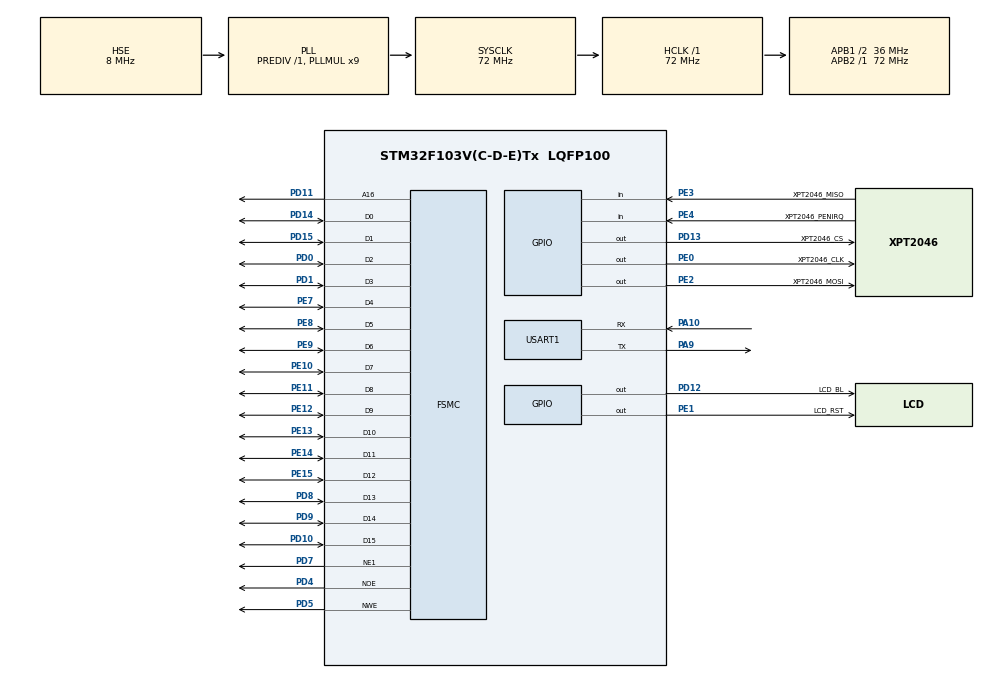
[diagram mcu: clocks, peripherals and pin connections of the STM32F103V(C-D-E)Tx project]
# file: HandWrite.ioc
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FSMC.AddressSetupTime1=0
FSMC.BusTurnAroundDuration1=0
FSMC.DataSetupTime1=8
Mcu.Family=STM32F1
Mcu.Name=STM32F103V(C-D-E)Tx
Mcu.Package=LQFP100
NVIC.PriorityGroup=NVIC_PRIORITYGROUP_4
NVIC.USART1_IRQn=true\:0\:0\:false\:false\:true\:true\:true\:true
OSC_IN.Mode=HSE-External-Oscillator
OSC_IN.Signal=RCC_OSC_IN
OSC_OUT.Mode=HSE-External-Oscillator
OSC_OUT.Signal=RCC_OSC_OUT
PA10.Mode=Asynchronous
PA10.Signal=USART1_RX
PA13.Mode=Serial_Wire
PA13.Signal=SYS_JTMS-SWDIO
PA14.Mode=Serial_Wire
PA14.Signal=SYS_JTCK-SWCLK
PA9.Mode=Asynchronous
PA9.Signal=USART1_TX
PD0.Mode=16b-d1
PD0.Signal=FSMC_D2
PD1.Mode=16b-d1
PD1.Signal=FSMC_D3
PD10.Mode=16b-d1
PD10.Signal=FSMC_D15
PD11.Mode=A16_1
PD11.Signal=FSMC_A16
PD12.GPIO_Label=LCD_BL
PD12.Signal=GPIO_Output
PD13.GPIO_Label=XPT2046_CS
PD13.Signal=GPIO_Output
PD14.Mode=16b-d1
PD14.Signal=FSMC_D0
PD15.Mode=16b-d1
PD15.Signal=FSMC_D1
PD4.Mode=Lcd1
PD4.Signal=FSMC_NOE
PD5.Mode=Lcd1
PD5.Signal=FSMC_NWE
PD7.Mode=NorPsramChipSelect1_1
PD7.Signal=FSMC_NE1
PD8.Mode=16b-d1
PD8.Signal=FSMC_D13
PD9.Mode=16b-d1
PD9.Signal=FSMC_D14
PE0.GPIO_Label=XPT2046_CLK
PE0.Signal=GPIO_Output
PE1.GPIO_Label=LCD_RST
PE1.Signal=GPIO_Output
PE10.Mode=16b-d1
PE10.Signal=FSMC_D7
PE11.Mode=16b-d1
PE11.Signal=FSMC_D8
PE12.Mode=16b-d1
PE12.Signal=FSMC_D9
PE13.Mode=16b-d1
PE13.Signal=FSMC_D10
PE14.Mode=16b-d1
PE14.Signal=FSMC_D11
PE15.Mode=16b-d1
PE15.Signal=FSMC_D12
PE2.GPIO_Label=XPT2046_MOSI
PE2.Signal=GPIO_Output
PE3.GPIO_Label=XPT2046_MISO
PE3.GPIO_PuPd=GPIO_PULLUP
PE3.Signal=GPIO_Input
PE4.GPIO_Label=XPT2046_PENIRQ
PE4.GPIO_PuPd=GPIO_PULLUP
PE4.Signal=GPIO_Input
PE7.Mode=16b-d1
PE7.Signal=FSMC_D4
PE8.Mode=16b-d1
PE8.Signal=FSMC_D5
PE9.Mode=16b-d1
PE9.Signal=FSMC_D6
ProjectManager.HeapSize=0x200
ProjectManager.StackSize=0x400
ProjectManager.TargetToolchain=CMake
RCC.AHBFreq_Value=72000000
RCC.APB1CLKDivider=RCC_HCLK_DIV2
RCC.APB1Freq_Value=36000000
RCC.APB1TimFreq_Value=72000000
RCC.APB2Freq_Value=72000000
RCC.APB2TimFreq_Value=72000000
RCC.HCLKFreq_Value=72000000
RCC.PLLMUL=RCC_PLL_MUL9
RCC.PLLSourceVirtual=RCC_PLLSOURCE_HSE
RCC.SYSCLKFreq_VALUE=72000000
RCC.SYSCLKSource=RCC_SYSCLKSOURCE_PLLCLK
RCC.USBFreq_Value=72000000
USART1.VirtualMode=VM_ASYNC
board=custom

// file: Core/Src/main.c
/* USER CODE BEGIN Header */
/**
  ******************************************************************************
  * @file           : main.c
  * @brief          : Main program body
  ******************************************************************************
  * @attention
  *
  * Copyright (c) 2026 STMicroelectronics.
  * All rights reserved.
  *
  * This software is licensed under terms that can be found in the LICENSE file
  * in the root directory of this software component.
  * If no LICENSE file comes with this software, it is provided AS-IS.
  *
  ******************************************************************************
  */
/* USER CODE END Header */
#include "main.h"
#include "usart.h"
#include "gpio.h"
#include "fsmc.h"

/* USER CODE BEGIN Includes */
#include "bsp_ili9341_lcd.h"
#include "bsp_xpt2046_lcd.h"
#include "digit_recognizer.h"
#include "handwriting_canvas.h"
#include "serial_protocol.h"
/* USER CODE END Includes */

/* USER CODE BEGIN PV */
static uint8_t digit_input[DIGIT_INPUT_SIZE];
/* USER CODE END PV */

void SystemClock_Config(void);

int main(void)
{

  /* MCU Configuration--------------------------------------------------------*/

  /* Reset of all peripherals, Initializes the Flash interface and the Systick. */
  HAL_Init();

  /* Configure the system clock */
  SystemClock_Config();

  /* Initialize all configured peripherals */
  MX_GPIO_Init();
  MX_FSMC_Init();
  MX_USART1_UART_Init();
  /* USER CODE BEGIN 2 */
  ILI9341_Init();
  XPT2046_Init();
  SerialProtocol_Init();
  HandwritingCanvas_Init();
  /* USER CODE END 2 */

  /* Infinite loop */
  while (1)
  {

    /* USER CODE BEGIN 3 */
    HandwritingEvent event = HandwritingCanvas_ProcessTouch(digit_input);
    if (event == HANDWRITING_EVENT_DIGIT_READY)
    {
      uint32_t infer_start = HAL_GetTick();
      DigitTopKResult result = DigitRecognizer_PredictTop3(digit_input);
      uint32_t infer_ms = HAL_GetTick() - infer_start;
      HandwritingCanvas_ShowResult(result.best.digit, result.best.model_ready);
      SerialProtocol_SendPrediction(&huart1, digit_input, &result, infer_ms);
    }
  }
  /* USER CODE END 3 */
}

void SystemClock_Config(void)
{
  RCC_OscInitTypeDef RCC_OscInitStruct = {0};
  RCC_ClkInitTypeDef RCC_ClkInitStruct = {0};

  /** Initializes the RCC Oscillators according to the specified parameters
  * in the RCC_OscInitTypeDef structure.
  */
  RCC_OscInitStruct.OscillatorType = RCC_OSCILLATORTYPE_HSE;
  RCC_OscInitStruct.HSEState = RCC_HSE_ON;
  RCC_OscInitStruct.HSEPredivValue = RCC_HSE_PREDIV_DIV1;
  RCC_OscInitStruct.HSIState = RCC_HSI_ON;
  RCC_OscInitStruct.PLL.PLLState = RCC_PLL_ON;
  RCC_OscInitStruct.PLL.PLLSource = RCC_PLLSOURCE_HSE;
  RCC_OscInitStruct.PLL.PLLMUL = RCC_PLL_MUL9;
  if (HAL_RCC_OscConfig(&RCC_OscInitStruct) != HAL_OK)
  {
    Error_Handler();
  }

  /** Initializes the CPU, AHB and APB buses clocks
  */
  RCC_ClkInitStruct.ClockType = RCC_CLOCKTYPE_HCLK|RCC_CLOCKTYPE_SYSCLK
                              |RCC_CLOCKTYPE_PCLK1|RCC_CLOCKTYPE_PCLK2;
  RCC_ClkInitStruct.SYSCLKSource = RCC_SYSCLKSOURCE_PLLCLK;
  RCC_ClkInitStruct.AHBCLKDivider = RCC_SYSCLK_DIV1;
  RCC_ClkInitStruct.APB1CLKDivider = RCC_HCLK_DIV2;
  RCC_ClkInitStruct.APB2CLKDivider = RCC_HCLK_DIV1;

  if (HAL_RCC_ClockConfig(&RCC_ClkInitStruct, FLASH_LATENCY_2) != HAL_OK)
  {
    Error_Handler();
  }
}

void Error_Handler(void)
{
  __disable_irq();
  while (1)
  {
  }
}
